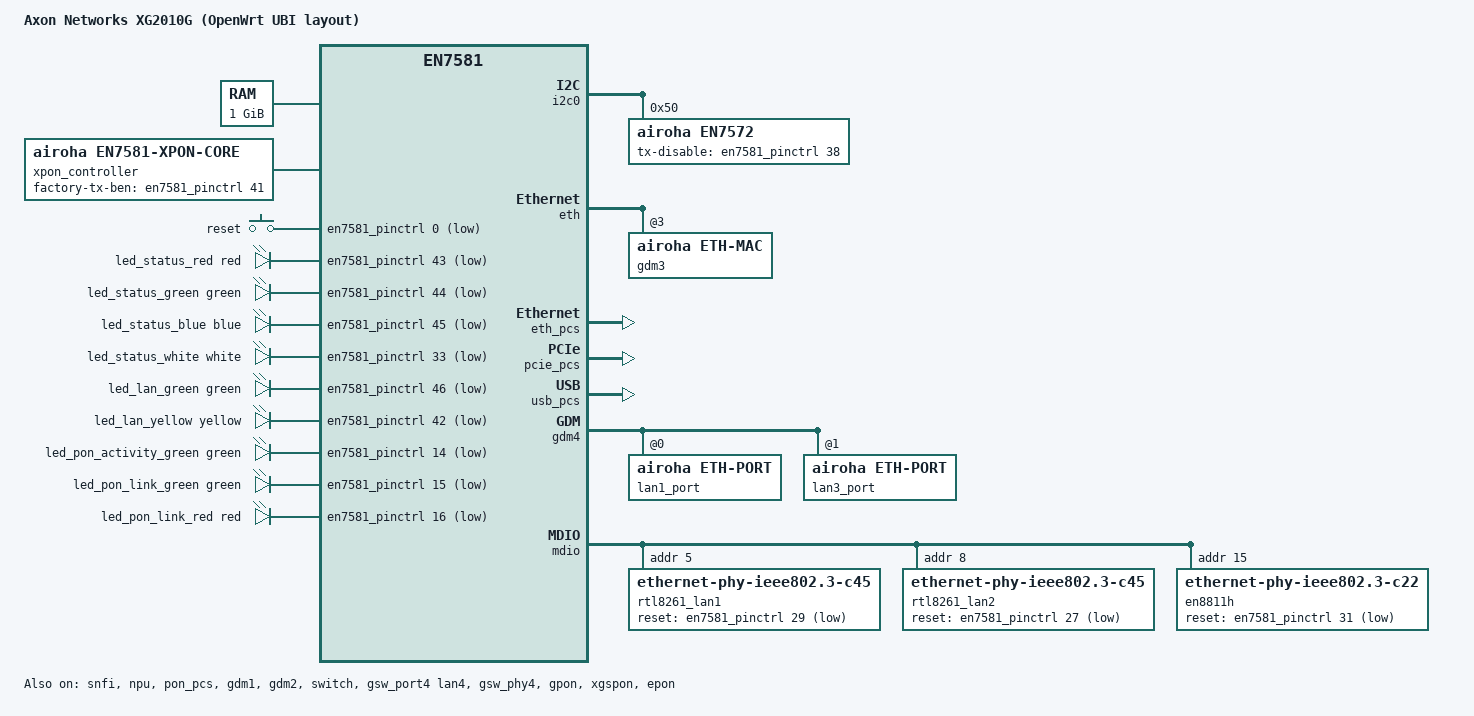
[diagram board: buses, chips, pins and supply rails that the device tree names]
// SPDX-License-Identifier: GPL-2.0-only OR MIT

/dts-v1/;

/* The vendor first-stage loader installs ATF here. */
/memreserve/ 0x80000000 0x200000;

#include <dt-bindings/gpio/gpio.h>
#include <dt-bindings/input/input.h>
#include <dt-bindings/leds/common.h>
#include <dt-bindings/phy/phy.h>
#include "an7581.dtsi"

/ {
	model = "Axon Networks XG2010G (OpenWrt UBI layout)";
	compatible = "axon,xg2010g", "econet,xg2010g",
		     "econet,en7581", "airoha,an7581", "airoha,en7581";

	aliases {
		serial0 = &uart1;
		led-boot = &led_status_red;
		led-failsafe = &led_status_blue;
		led-upgrade = &led_status_white;
		led-running = &led_status_green;
	};

	chosen {
		rootdisk = <&ubi_rootfs>;
		bootargs = "console=ttyS0,115200 earlycon ubi.block=0,fit root=/dev/fit0 rootwait";
		stdout-path = "serial0:115200n8";
		linux,usable-memory-range = <0x0 0x80200000 0x0 0x3fe00000>;
	};

	memory@80000000 {
		device_type = "memory";
		reg = <0x0 0x80000000 0x0 0x40000000>;
	};

	gpon: gpon@1fb64000 {
		compatible = "airoha,en7581-gpon";
		reg = <0x0 0x1fb64000 0x0 0x3e8>,
		      <0x0 0x1faf0000 0x0 0x1000>;
		reg-names = "mac", "phy-csr";
		interrupts = <GIC_SPI 42 IRQ_TYPE_LEVEL_HIGH>,
			     <GIC_SPI 43 IRQ_TYPE_LEVEL_HIGH>;
		interrupt-names = "mac", "phy";
		bosa-controller = <&en7572>;
		airoha,xpon-controller = <&xpon_controller>;
		airoha,pcs = <&pon_pcs>;
		airoha,chip-scu = <&chip_scu>;
		ethernet = <&gdm2>;
		airoha,idle-gem-threshold = <0x1a>;
		status = "okay";
	};

	xgspon: xgspon@1fb65000 {
		compatible = "airoha,en7581-xgspon";
		reg = <0x0 0x1fb65000 0x0 0xff8>,
		      <0x0 0x1faf0000 0x0 0x1000>;
		reg-names = "mac", "phy-csr";
		interrupts = <GIC_SPI 42 IRQ_TYPE_LEVEL_HIGH>,
			     <GIC_SPI 43 IRQ_TYPE_LEVEL_HIGH>;
		interrupt-names = "mac", "phy";
		bosa-controller = <&en7572>;
		airoha,xpon-controller = <&xpon_controller>;
		airoha,pcs = <&pon_pcs>;
		pcs-handle = <&pon_pcs>;
		ethernet = <&gdm2>;
		status = "okay";
	};

	epon: epon@1fb66000 {
		compatible = "airoha,en7581-epon";
		reg = <0x0 0x1fb66000 0x0 0x700>,
		      <0x0 0x1faf0000 0x0 0x1000>,
		      <0x0 0x1faf1000 0x0 0x1000>;
		reg-names = "mac", "phy-csr", "xepon-pcs";
		interrupts = <GIC_SPI 42 IRQ_TYPE_LEVEL_HIGH>,
			     <GIC_SPI 43 IRQ_TYPE_LEVEL_HIGH>;
		interrupt-names = "mac", "phy";
		bosa-controller = <&en7572>;
		airoha,xpon-controller = <&xpon_controller>;
		airoha,pcs = <&pon_pcs>;
		pcs-handle = <&pon_pcs>;
		airoha,scu = <&scuclk>;
		ethernet = <&gdm2>;
		airoha,llid-mask = <0x1>;
		status = "okay";
	};

	xpon_controller: xpon-controller {
		compatible = "airoha,en7581-xpon-core";
		interrupts = <GIC_SPI 34 IRQ_TYPE_LEVEL_HIGH>;
		interrupt-names = "dying-gasp";
		bosa-controller = <&en7572>;
		pcs-handle = <&pon_pcs>;
		airoha,scu = <&scuclk>;
		airoha,chip-scu = <&chip_scu>;
		factory-tx-ben-gpios = <&en7581_pinctrl 41 GPIO_ACTIVE_HIGH>;
		/* Expose only the bounded, token-protected factory TX test ABI. */
		airoha,allow-factory-tx-test;
		status = "okay";
	};

	keys {
		compatible = "gpio-keys";

		key-restart {
			label = "reset";
			linux,code = <KEY_RESTART>;
			gpios = <&en7581_pinctrl 0 GPIO_ACTIVE_LOW>;
			debounce-interval = <60>;
		};
	};

	leds {
		compatible = "gpio-leds";

		led_status_red: led-status-red {
			color = <LED_COLOR_ID_RED>;
			function = LED_FUNCTION_STATUS;
			gpios = <&en7581_pinctrl 43 GPIO_ACTIVE_LOW>;
			default-state = "on";
		};

		led_status_green: led-status-green {
			color = <LED_COLOR_ID_GREEN>;
			function = LED_FUNCTION_STATUS;
			gpios = <&en7581_pinctrl 44 GPIO_ACTIVE_LOW>;
		};

		led_status_blue: led-status-blue {
			color = <LED_COLOR_ID_BLUE>;
			function = LED_FUNCTION_STATUS;
			gpios = <&en7581_pinctrl 45 GPIO_ACTIVE_LOW>;
		};

		led_status_white: led-status-white {
			color = <LED_COLOR_ID_WHITE>;
			function = LED_FUNCTION_STATUS;
			gpios = <&en7581_pinctrl 33 GPIO_ACTIVE_LOW>;
		};

		led_lan_green: led-lan-green {
			color = <LED_COLOR_ID_GREEN>;
			function = LED_FUNCTION_LAN;
			gpios = <&en7581_pinctrl 46 GPIO_ACTIVE_LOW>;
		};

		led_lan_yellow: led-lan-yellow {
			color = <LED_COLOR_ID_YELLOW>;
			function = LED_FUNCTION_LAN;
			gpios = <&en7581_pinctrl 42 GPIO_ACTIVE_LOW>;
		};

		/* Stock XG2010G assigns GPIO14/15/16 to the PON indicators. */
		led_pon_activity_green: led-pon-activity-green {
			color = <LED_COLOR_ID_GREEN>;
			function = LED_FUNCTION_ACTIVITY;
			gpios = <&en7581_pinctrl 14 GPIO_ACTIVE_LOW>;
		};

		led_pon_link_green: led-pon-link-green {
			color = <LED_COLOR_ID_GREEN>;
			function = LED_FUNCTION_WAN_ONLINE;
			gpios = <&en7581_pinctrl 15 GPIO_ACTIVE_LOW>;
		};

		led_pon_link_red: led-pon-link-red {
			color = <LED_COLOR_ID_RED>;
			function = LED_FUNCTION_WAN;
			gpios = <&en7581_pinctrl 16 GPIO_ACTIVE_LOW>;
		};

	};
};

&en7581_pinctrl {
	gpio-ranges = <&en7581_pinctrl 0 13 47>;

	mdio_pins: mdio-pins {
		mux {
			function = "mdio";
			groups = "mdio";
		};

		conf {
			pins = "gpio2";
			output-high;
		};
	};
};

&snfi {
	status = "okay";
};

&spi_nand {
	/* Match the stock loader's raw NAND ECC settings. */
	nand-ecc-mode = "none";
	nand-ecc-step-size = <2048>;
	nand-ecc-strength = <0>;

	#address-cells = <1>;
	#size-cells = <1>;

	partitions {
		compatible = "fixed-partitions";
		#address-cells = <1>;
		#size-cells = <1>;

		partition@0 {
			label = "vendor";
			reg = <0x00000000 0x00600000>;
			read-only;
		};

		partition@600000 {
			label = "chainloader";
			reg = <0x00600000 0x00100000>;
			read-only;
		};

		partition@700000 {
			label = "ubi";
			reg = <0x00700000 0x1b600000>;
			compatible = "linux,ubi";

			volumes {
				ubi-volume-ubootenv {
					volname = "ubootenv";
					nvmem-layout {
						compatible = "u-boot,env-redundant-bool";
					};
				};

				ubi-volume-ubootenv2 {
					volname = "ubootenv2";
					nvmem-layout {
						compatible = "u-boot,env-redundant-bool";
					};
				};

				ubi-volume-uboot {
					volname = "uboot";
				};

				ubi_rootfs: ubi-volume-fit {
					volname = "fit";
				};
			};
		};

		art: partition@1bd00000 {
			label = "art";
			reg = <0x1bd00000 0x00300000>;
			read-only;

			nvmem-layout {
				compatible = "fixed-layout";
				#address-cells = <1>;
				#size-cells = <1>;

				en7572_bob_gpon: calibration@51000 {
					reg = <0x51000 0x201>;
				};

				en7572_bob_xgspon: calibration@52000 {
					reg = <0x52000 0x201>;
				};
			};
		};

		/* Keep the final 64 MiB for NAND BMT/BBT data. */
		partition@1c000000 {
			label = "reserved_bmt";
			reg = <0x1c000000 0x04000000>;
			read-only;
		};
	};
};

&npu {
	status = "okay";
};

&i2c0 {
	status = "okay";

	en7572: bosa-controller@50 {
		compatible = "airoha,en7572";
		reg = <0x50>;
		tx-disable-gpios = <&en7581_pinctrl 38 GPIO_ACTIVE_HIGH>;
		/* XG2010G boots in XGS-PON; other supported modes switch at runtime. */
		airoha,pon-mode = "xgspon";
		nvmem-cells = <&en7572_bob_gpon>, <&en7572_bob_xgspon>;
		nvmem-cell-names = "calibration-gpon", "calibration-10g";
		airoha,pm-firmware = "airoha/xg2010g/en7572-A60993.pm";
		airoha,dm-firmware = "airoha/xg2010g/en7572-A60993.dm";
		/*
		 * This board's ART GPON record may be erased. Prefer a valid
		 * ART/NVMEM record, then use the recovered stock GPON A0 table.
		 */
		airoha,calibration-gpon-firmware =
			"airoha/xg2010g/en7572-bob-gpon.bin";
		/* Temporary lab table: A2 optical data is mirrored into A0. */
		airoha,calibration-10g-firmware =
			"airoha/xg2010g/en7572-bob-a2-as-a0.bin";
		airoha,calibration-10g-a2-as-a0;
	};
};

&eth {
	status = "okay";

	gdm3: ethernet@3 {
		compatible = "airoha,eth-mac";
		reg = <3>;
		status = "okay";

		#address-cells = <1>;
		#size-cells = <0>;

		lan2_port: ethernet-port@5 {
			compatible = "airoha,eth-port";
			reg = <5>;
			/* Use USXGMII in-band status while RTL8261 handles copper AN. */
			phy-handle = <&rtl8261_lan2>;
			phy-mode = "usxgmii";
			managed = "in-band-status";
			pcs-handle = <&pcie_pcs 1>;
			openwrt,netdev-name = "lan2";
		};
	};
};

&eth_pcs {
	status = "okay";
};

&pcie_pcs {
	/* WiFi2/PCIe1 Multi-SerDes lane is wired to the second 10G PHY. */
	status = "okay";
	/* Neither physical PCIe controller is used on this board. */
	airoha,disable-pcie-mode;
	/* XG2010G uses the vendor PCIe1 RX PR/CDR calibration flow. */
	airoha,manual-rx-calibration;
};

/* The physical PCIe controllers are unused; their PHY overlaps pcie_pcs. */
&pciephy {
	status = "disabled";
};

&usb_pcs {
	/* USB Multi-SerDes lane is used by the 2.5G LAN PHY. */
	status = "okay";
};

&pon_pcs {
	status = "okay";
	airoha,pon-mode = "xgspon";
};

&gdm1 {
	status = "okay";
};

&gdm2 {
	status = "okay";
	phy-mode = "2500base-x";
	airoha,gpon-mode;
	openwrt,netdev-name = "pon";

	fixed-link {
		speed = <2500>;
		full-duplex;
	};
};

&gdm4 {
	status = "okay";
	#address-cells = <1>;
	#size-cells = <0>;

	lan1_port: ethernet-port@0 {
		compatible = "airoha,eth-port";
		reg = <0>;
		/* Use USXGMII in-band status while RTL8261 handles copper AN. */
		phy-handle = <&rtl8261_lan1>;
		phy-mode = "usxgmii";
		managed = "in-band-status";
		pcs-handle = <&eth_pcs>;
		openwrt,netdev-name = "lan1";
	};

	lan3_port: ethernet-port@1 {
		compatible = "airoha,eth-port";
		reg = <1>;
		phy-handle = <&en8811h>;
		phy-mode = "2500base-x";
		pcs-handle = <&usb_pcs>;
		openwrt,netdev-name = "lan3";
	};
};

&switch {
	status = "okay";
	pinctrl-names = "default";
	pinctrl-0 = <&mdio_pins>;
};

/* XG2010G LAN4 is switch port4, backed by internal PHY12. */
&gsw_port4 {
	status = "okay";
	label = "lan4";
};

&gsw_phy4 {
	status = "okay";
	interrupts = <4>;
};

&mdio {
	/* XG2010G LAN1: RTL8261 on the Ethernet Multi-SerDes lane. */
	rtl8261_lan1: ethernet-phy@5 {
		compatible = "ethernet-phy-ieee802.3-c45";
		reg = <5>;
		reset-gpios = <&en7581_pinctrl 29 GPIO_ACTIVE_LOW>;
		reset-assert-us = <200000>;
		reset-deassert-us = <200000>;
		/* The board routes both RTL8261 host SerDes pairs crossed. */
		tx-polarity = <PHY_POL_INVERT>;
		rx-polarity = <PHY_POL_INVERT>;
		realtek,host-serdes-usxgmii;
	};

	/* XG2010G LAN2: RTL8261 on the WiFi2/PCIe1 Multi-SerDes lane. */
	rtl8261_lan2: ethernet-phy@8 {
		compatible = "ethernet-phy-ieee802.3-c45";
		reg = <8>;
		reset-gpios = <&en7581_pinctrl 27 GPIO_ACTIVE_LOW>;
		reset-assert-us = <200000>;
		reset-deassert-us = <200000>;
		/* The board routes both RTL8261 host SerDes pairs crossed. */
		tx-polarity = <PHY_POL_INVERT>;
		rx-polarity = <PHY_POL_INVERT>;
		realtek,host-serdes-usxgmii;
	};

	/* XG2010G LAN3: Airoha EN8811H on the USB Multi-SerDes lane. */
	en8811h: ethernet-phy@f {
		compatible = "ethernet-phy-ieee802.3-c22";
		reg = <15>;
		reset-gpios = <&en7581_pinctrl 31 GPIO_ACTIVE_LOW>;
		reset-assert-us = <1000000>;
		reset-deassert-us = <150000>;
	};

	en8811h_aux1: ethernet-phy@d {
		reg = <13>;
		status = "disabled";
	};

	en8811h_aux2: ethernet-phy@e {
		reg = <14>;
		status = "disabled";
	};
};
